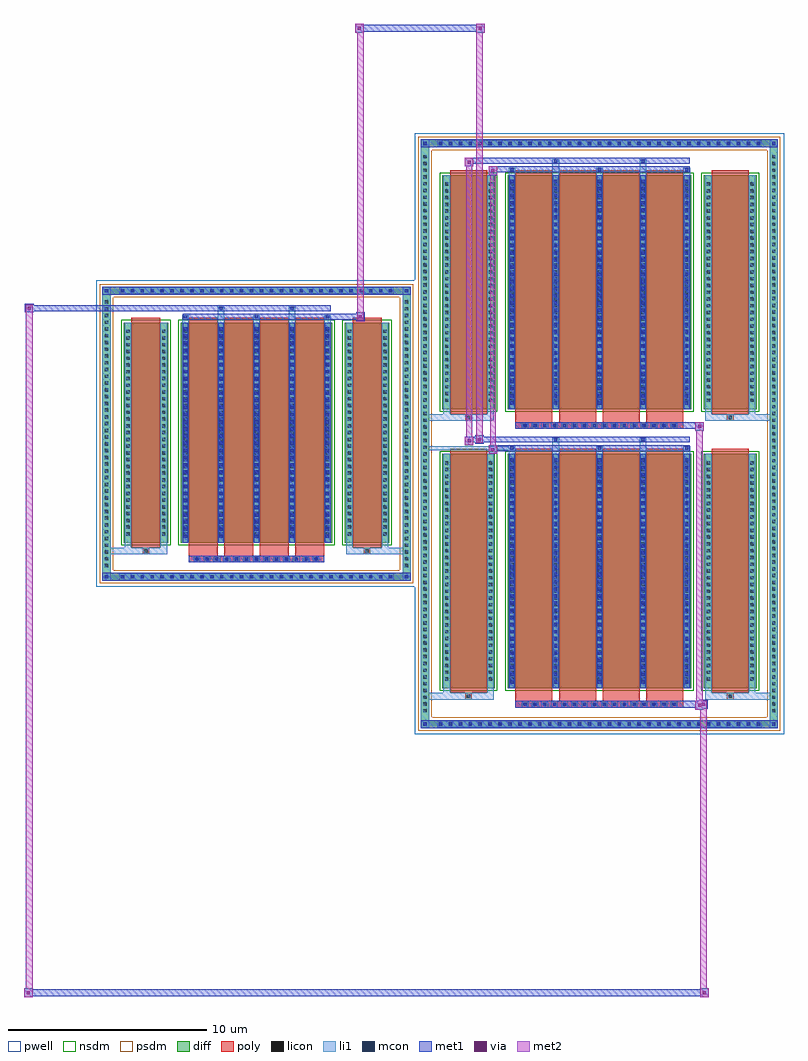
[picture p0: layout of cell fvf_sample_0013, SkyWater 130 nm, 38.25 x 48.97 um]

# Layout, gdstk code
import gdstk
lib = gdstk.Library(unit=1e-6, precision=1e-09)
def R(c, l, rs):  # rectangles x0, y0, x1, y1
    for r in rs: c.add(gdstk.rectangle(r[:2], r[2:], *l))
def A(c, l, x, y, w, h, nx, ny, dx, dy):  # array of equal rectangles
    R(c, l, [(x+i*dx, y+j*dy, x+i*dx+w, y+j*dy+h) for i in range(nx) for j in range(ny)])
def P(c, l, *ps):  # polygons
    for p in ps: c.add(gdstk.Polygon(p, *l))
pwell = (64, 44)
diff = (65, 20)
poly = (66, 20)
licon = (66, 44)
li1 = (67, 20)
mcon = (67, 44)
met1 = (68, 20)
via = (68, 44)
met2 = (69, 20)
nsdm = (93, 44)
psdm = (94, 20)

fvf_sample_0013 = lib.new_cell('fvf_sample_0013')
R(fvf_sample_0013, pwell, [(7.966,-15.128,26.544,15.128), (-8.066,-7.712,8.066,7.712)])
A(fvf_sample_0013, diff, 9.05, -14.818, 0.41, 0.41, 33, 2, 0.5, 29.226)
A(fvf_sample_0013, diff, 8.276, -14.145, 0.41, 0.41, 1, 83, 0, 0.34)
A(fvf_sample_0013, diff, 25.824, -14.145, 0.41, 0.41, 1, 83, 0, 0.34)
A(fvf_sample_0013, diff, -6.955, -7.402, 0.41, 0.41, 28, 2, 0.5, 14.394)
A(fvf_sample_0013, diff, -7.756, -6.835, 0.41, 0.41, 1, 40, 0, 0.34)
A(fvf_sample_0013, diff, 7.346, -6.835, 0.41, 0.41, 1, 40, 0, 0.34)
R(fvf_sample_0013, diff, [(9.05,-14.818,25.46,-14.408), (8.276,-14.145,8.686,14.145), (25.824,-14.145,26.234,14.145), (9.346,-12.797,11.994,-1.015), (12.634,-12.797,21.876,-1.015), (22.516,-12.797,25.164,-1.015), (-6.955,-7.402,6.955,-6.992), (-7.756,-6.835,-7.346,6.835), (7.346,-6.835,7.756,6.835), (-6.685,-5.48,-4.445,5.596), (-3.805,-5.48,3.805,5.596), (4.445,-5.48,6.685,5.596), (9.346,1.231,11.994,13.013), (12.634,1.231,21.876,13.013), (22.516,1.231,25.164,13.013), (-6.955,6.992,6.955,7.402), (9.05,14.408,25.46,14.818)])
P(fvf_sample_0013, diff, [(7.756,7.402),(-7.756,7.402),(-7.756,-6.992),(-7.346,-6.992),(-7.346,6.992),(7.346,6.992),(7.346,-6.992),(-7.346,-6.992),(-7.756,-6.992),(-7.756,-7.402),(7.756,-7.402)],
  [(26.234,14.818),(8.276,14.818),(8.276,-14.408),(8.686,-14.408),(8.686,14.408),(25.824,14.408),(25.824,-14.408),(8.686,-14.408),(8.276,-14.408),(8.276,-14.818),(26.234,-14.818)])
A(fvf_sample_0013, poly, 13.34, -13.778, 0.33, 0.33, 16, 2, 0.5, 14.028)
A(fvf_sample_0013, poly, 13.024, -13.448, 1.868, 0.401, 4, 2, 2.198, 14.028)
A(fvf_sample_0013, poly, 13.024, -13.047, 1.868, 12.282, 4, 2, 2.198, 14.028)
A(fvf_sample_0013, poly, -3.165, -6.462, 0.33, 0.33, 13, 1, 0.5, 0)
A(fvf_sample_0013, poly, -3.415, -6.132, 1.46, 0.402, 4, 1, 1.79, 0)
A(fvf_sample_0013, poly, -3.415, -5.73, 1.46, 11.576, 4, 1, 1.79, 0)
R(fvf_sample_0013, poly, [(13.024,-13.778,21.486,-13.448), (10.505,-13.377,10.835,-13.047), (10.505,-13.377,10.835,-13.047), (23.675,-13.377,24.005,-13.047), (23.675,-13.377,24.005,-13.047), (9.736,-13.047,11.604,-0.765), (22.906,-13.047,24.774,-0.765), (-3.415,-6.462,3.415,-6.132), (-5.73,-6.06,-5.4,-5.73), (-5.73,-6.06,-5.4,-5.73), (5.4,-6.06,5.73,-5.73), (5.4,-6.06,5.73,-5.73), (-6.295,-5.73,-4.835,5.846), (4.835,-5.73,6.295,5.846), (13.024,0.25,21.486,0.58), (10.505,0.651,10.835,0.981), (10.505,0.651,10.835,0.981), (23.675,0.651,24.005,0.981), (23.675,0.651,24.005,0.981), (9.736,0.981,11.604,13.263), (22.906,0.981,24.774,13.263)])
A(fvf_sample_0013, licon, 9.17, -14.698, 0.17, 0.17, 33, 2, 0.5, 29.226)
A(fvf_sample_0013, licon, 8.396, -14.025, 0.17, 0.17, 1, 83, 0, 0.34)
A(fvf_sample_0013, licon, 25.944, -14.025, 0.17, 0.17, 1, 83, 0, 0.34)
A(fvf_sample_0013, licon, 13.42, -13.698, 0.17, 0.17, 16, 2, 0.5, 14.028)
A(fvf_sample_0013, licon, 9.486, -12.431, 0.17, 0.17, 1, 33, 0, 0.34)
A(fvf_sample_0013, licon, 11.684, -12.431, 0.17, 0.17, 1, 33, 0, 0.34)
A(fvf_sample_0013, licon, 12.774, -12.431, 0.17, 0.17, 5, 33, 2.198, 0.34)
A(fvf_sample_0013, licon, 22.656, -12.431, 0.17, 0.17, 1, 33, 0, 0.34)
A(fvf_sample_0013, licon, 24.854, -12.431, 0.17, 0.17, 1, 33, 0, 0.34)
A(fvf_sample_0013, licon, -6.835, -7.282, 0.17, 0.17, 28, 2, 0.5, 14.394)
A(fvf_sample_0013, licon, -7.636, -6.715, 0.17, 0.17, 1, 40, 0, 0.34)
A(fvf_sample_0013, licon, 7.466, -6.715, 0.17, 0.17, 1, 40, 0, 0.34)
A(fvf_sample_0013, licon, -3.085, -6.382, 0.17, 0.17, 13, 1, 0.5, 0)
A(fvf_sample_0013, licon, -6.545, -5.127, 0.17, 0.17, 1, 31, 0, 0.34)
A(fvf_sample_0013, licon, -4.755, -5.127, 0.17, 0.17, 1, 31, 0, 0.34)
A(fvf_sample_0013, licon, -3.665, -5.127, 0.17, 0.17, 5, 31, 1.79, 0.34)
A(fvf_sample_0013, licon, 4.585, -5.127, 0.17, 0.17, 1, 31, 0, 0.34)
A(fvf_sample_0013, licon, 6.375, -5.127, 0.17, 0.17, 1, 31, 0, 0.34)
A(fvf_sample_0013, licon, 9.486, 1.597, 0.17, 0.17, 1, 33, 0, 0.34)
A(fvf_sample_0013, licon, 11.684, 1.597, 0.17, 0.17, 1, 33, 0, 0.34)
A(fvf_sample_0013, licon, 12.774, 1.597, 0.17, 0.17, 5, 33, 2.198, 0.34)
A(fvf_sample_0013, licon, 22.656, 1.597, 0.17, 0.17, 1, 33, 0, 0.34)
A(fvf_sample_0013, licon, 24.854, 1.597, 0.17, 0.17, 1, 33, 0, 0.34)
R(fvf_sample_0013, licon, [(10.585,-13.297,10.755,-13.127), (23.755,-13.297,23.925,-13.127), (-5.65,-5.98,-5.48,-5.81), (5.48,-5.98,5.65,-5.81), (10.585,0.731,10.755,0.901), (23.755,0.731,23.925,0.901)])
A(fvf_sample_0013, li1, 9.09, -14.778, 0.33, 0.33, 33, 2, 0.5, 29.226)
A(fvf_sample_0013, li1, 8.316, -14.105, 0.33, 0.33, 1, 83, 0, 0.34)
A(fvf_sample_0013, li1, 25.864, -14.105, 0.33, 0.33, 1, 83, 0, 0.34)
A(fvf_sample_0013, li1, 13.34, -13.778, 0.33, 0.33, 16, 2, 0.5, 14.028)
A(fvf_sample_0013, li1, 12.694, -12.797, 0.33, 11.782, 5, 2, 2.198, 14.028)
A(fvf_sample_0013, li1, 12.774, -12.571, 0.17, 0.17, 5, 32, 2.198, 0.36)
A(fvf_sample_0013, li1, 12.774, -12.571, 0.17, 11.33, 5, 2, 2.198, 14.028)
A(fvf_sample_0013, li1, 9.406, -12.511, 0.33, 0.33, 1, 33, 0, 0.34)
A(fvf_sample_0013, li1, 11.604, -12.511, 0.33, 0.33, 1, 33, 0, 0.34)
A(fvf_sample_0013, li1, 12.694, -12.511, 0.33, 0.33, 5, 33, 2.198, 0.34)
A(fvf_sample_0013, li1, 22.576, -12.511, 0.33, 0.33, 1, 33, 0, 0.34)
A(fvf_sample_0013, li1, 24.774, -12.511, 0.33, 0.33, 1, 33, 0, 0.34)
A(fvf_sample_0013, li1, -6.915, -7.362, 0.33, 0.33, 28, 2, 0.5, 14.394)
A(fvf_sample_0013, li1, -7.716, -6.795, 0.33, 0.33, 1, 40, 0, 0.34)
A(fvf_sample_0013, li1, 7.386, -6.795, 0.33, 0.33, 1, 40, 0, 0.34)
A(fvf_sample_0013, li1, -3.165, -6.462, 0.33, 0.33, 13, 1, 0.5, 0)
A(fvf_sample_0013, li1, -3.745, -5.48, 0.33, 11.076, 5, 1, 1.79, 0)
A(fvf_sample_0013, li1, -3.665, -5.247, 0.17, 0.17, 5, 30, 1.79, 0.36)
A(fvf_sample_0013, li1, -3.665, -5.247, 0.17, 10.61, 5, 1, 1.79, 0)
A(fvf_sample_0013, li1, -6.625, -5.207, 0.33, 0.33, 1, 31, 0, 0.34)
A(fvf_sample_0013, li1, -4.835, -5.207, 0.33, 0.33, 1, 31, 0, 0.34)
A(fvf_sample_0013, li1, -3.745, -5.207, 0.33, 0.33, 5, 31, 1.79, 0.34)
A(fvf_sample_0013, li1, 4.505, -5.207, 0.33, 0.33, 1, 31, 0, 0.34)
A(fvf_sample_0013, li1, 6.295, -5.207, 0.33, 0.33, 1, 31, 0, 0.34)
A(fvf_sample_0013, li1, 12.694, -1.015, 0.33, 0.375, 3, 2, 4.396, 14.028)
A(fvf_sample_0013, li1, 12.774, -0.81, 0.17, 0.17, 3, 2, 4.396, 14.028)
A(fvf_sample_0013, li1, 12.774, 1.457, 0.17, 0.17, 5, 32, 2.198, 0.36)
A(fvf_sample_0013, li1, 9.406, 1.517, 0.33, 0.33, 1, 33, 0, 0.34)
A(fvf_sample_0013, li1, 11.604, 1.517, 0.33, 0.33, 1, 33, 0, 0.34)
A(fvf_sample_0013, li1, 12.694, 1.517, 0.33, 0.33, 5, 33, 2.198, 0.34)
A(fvf_sample_0013, li1, 22.576, 1.517, 0.33, 0.33, 1, 33, 0, 0.34)
A(fvf_sample_0013, li1, 24.774, 1.517, 0.33, 0.33, 1, 33, 0, 0.34)
A(fvf_sample_0013, li1, -3.745, 5.596, 0.33, 0.375, 3, 1, 3.58, 0)
A(fvf_sample_0013, li1, -3.665, 5.801, 0.17, 0.17, 3, 1, 3.58, 0)
R(fvf_sample_0013, li1, [(8.276,-14.818,8.686,-14.408), (25.824,-14.818,26.234,-14.408), (9.09,-14.778,25.42,-14.448), (8.396,-14.698,8.566,-14.528), (8.396,-14.698,8.566,-14.528), (25.944,-14.698,26.114,-14.528), (25.944,-14.698,26.114,-14.528), (8.276,-14.408,8.686,14.408), (25.824,-14.408,26.234,14.408), (8.276,-13.377,10.505,-13.047), (9.406,-13.377,9.736,-12.797), (9.406,-13.377,10.505,-13.047), (10.505,-13.377,10.835,-13.047), (10.835,-13.377,11.934,-13.047), (11.604,-13.377,11.934,-12.797), (22.576,-13.377,22.906,-12.797), (22.576,-13.377,23.675,-13.047), (23.675,-13.377,24.005,-13.047), (23.675,-13.377,26.234,-13.047), (24.005,-13.377,25.104,-13.047), (24.774,-13.377,25.104,-12.797), (9.406,-12.797,9.736,-1.015), (11.604,-12.797,11.934,-1.015), (22.576,-12.797,22.906,-1.015), (24.774,-12.797,25.104,-1.015), (-7.756,-7.402,-7.346,-6.992), (7.346,-7.402,7.756,-6.992), (-6.915,-7.362,6.915,-7.032), (-7.636,-7.282,-7.466,-7.112), (-7.636,-7.282,-7.466,-7.112), (7.466,-7.282,7.636,-7.112), (7.466,-7.282,7.636,-7.112), (-7.756,-6.992,-7.346,6.992), (7.346,-6.992,7.756,6.992), (-7.756,-6.06,-5.73,-5.73), (-6.625,-6.06,-5.73,-5.73), (-6.625,-6.06,-6.295,-5.48), (-5.73,-6.06,-5.4,-5.73), (-5.4,-6.06,-4.505,-5.73), (-4.835,-6.06,-4.505,-5.48), (4.505,-6.06,5.4,-5.73), (4.505,-6.06,4.835,-5.48), (5.4,-6.06,5.73,-5.73), (5.4,-6.06,7.756,-5.73), (5.73,-6.06,6.625,-5.73), (6.295,-6.06,6.625,-5.48), (-6.625,-5.48,-6.295,5.596), (-4.835,-5.48,-4.505,5.596), (4.505,-5.48,4.835,5.596), (6.295,-5.48,6.625,5.596), (14.892,-1.015,15.222,-0.21), (19.288,-1.015,19.618,-0.21), (12.714,-0.87,13.004,-0.58), (8.276,-0.825,12.714,-0.625), (12.774,-0.81,12.944,-0.64), (14.972,-0.38,15.142,-0.21), (19.368,-0.38,19.538,-0.21), (8.276,0.651,10.505,0.981), (9.406,0.651,9.736,1.231), (9.406,0.651,10.505,0.981), (10.505,0.651,10.835,0.981), (10.835,0.651,11.934,0.981), (11.604,0.651,11.934,1.231), (22.576,0.651,22.906,1.231), (22.576,0.651,23.675,0.981), (23.675,0.651,24.005,0.981), (23.675,0.651,26.234,0.981), (24.005,0.651,25.104,0.981), (24.774,0.651,25.104,1.231), (9.406,1.231,9.736,13.013), (11.604,1.231,11.934,13.013), (22.576,1.231,22.906,13.013), (24.774,1.231,25.104,13.013), (-1.955,5.596,-1.625,6.401), (1.625,5.596,1.955,6.401), (-1.875,6.231,-1.705,6.401), (1.705,6.231,1.875,6.401), (-7.756,6.992,-7.346,7.402), (7.346,6.992,7.756,7.402), (-6.915,7.032,6.915,7.362), (-7.636,7.112,-7.466,7.282), (-7.636,7.112,-7.466,7.282), (7.466,7.112,7.636,7.282), (7.466,7.112,7.636,7.282), (14.892,13.013,15.222,13.818), (19.288,13.013,19.618,13.818), (14.972,13.648,15.142,13.818), (19.368,13.648,19.538,13.818), (8.276,14.408,8.686,14.818), (25.824,14.408,26.234,14.818), (9.09,14.448,25.42,14.778), (8.396,14.528,8.566,14.698), (8.396,14.528,8.566,14.698), (25.944,14.528,26.114,14.698), (25.944,14.528,26.114,14.698)])
A(fvf_sample_0013, mcon, 9.17, -14.698, 0.17, 0.17, 33, 2, 0.5, 29.226)
A(fvf_sample_0013, mcon, 13.42, -13.698, 0.17, 0.17, 16, 2, 0.5, 14.028)
A(fvf_sample_0013, mcon, 12.774, -12.571, 0.17, 0.17, 5, 32, 2.198, 0.36)
A(fvf_sample_0013, mcon, -6.835, -7.282, 0.17, 0.17, 28, 2, 0.5, 14.394)
A(fvf_sample_0013, mcon, -3.085, -6.382, 0.17, 0.17, 13, 1, 0.5, 0)
A(fvf_sample_0013, mcon, -3.665, -5.247, 0.17, 0.17, 5, 30, 1.79, 0.36)
A(fvf_sample_0013, mcon, 12.774, -0.81, 0.17, 0.17, 3, 2, 4.396, 14.028)
A(fvf_sample_0013, mcon, 12.774, 1.457, 0.17, 0.17, 5, 32, 2.198, 0.36)
A(fvf_sample_0013, mcon, -3.665, 5.801, 0.17, 0.17, 3, 1, 3.58, 0)
R(fvf_sample_0013, mcon, [(8.396,-14.698,8.566,-14.528), (25.944,-14.698,26.114,-14.528), (-7.636,-7.282,-7.466,-7.112), (7.466,-7.282,7.636,-7.112), (12.774,-0.81,12.944,-0.64), (14.972,-0.38,15.142,-0.21), (19.368,-0.38,19.538,-0.21), (-1.875,6.231,-1.705,6.401), (1.705,6.231,1.875,6.401), (-7.636,7.112,-7.466,7.282), (7.466,7.112,7.636,7.282), (14.972,13.648,15.142,13.818), (19.368,13.648,19.538,13.818), (8.396,14.528,8.566,14.698), (25.944,14.528,26.114,14.698)])
A(fvf_sample_0013, met1, 9.11, -14.758, 0.29, 0.29, 33, 2, 0.5, 29.226)
A(fvf_sample_0013, met1, 13.36, -13.758, 0.29, 0.29, 16, 2, 0.5, 14.028)
A(fvf_sample_0013, met1, 12.714, -12.797, 0.29, 11.782, 5, 2, 2.198, 14.028)
A(fvf_sample_0013, met1, 12.714, -12.631, 0.29, 0.29, 5, 32, 2.198, 0.36)
A(fvf_sample_0013, met1, -6.895, -7.342, 0.29, 0.29, 28, 2, 0.5, 14.394)
A(fvf_sample_0013, met1, -3.145, -6.442, 0.29, 0.29, 13, 1, 0.5, 0)
A(fvf_sample_0013, met1, -3.725, -5.48, 0.29, 11.076, 5, 1, 1.79, 0)
A(fvf_sample_0013, met1, -3.725, -5.307, 0.29, 0.29, 5, 30, 1.79, 0.36)
A(fvf_sample_0013, met1, 12.714, -0.87, 0.29, 0.29, 3, 2, 4.396, 14.028)
A(fvf_sample_0013, met1, 12.714, 1.397, 0.29, 0.29, 5, 32, 2.198, 0.36)
A(fvf_sample_0013, met1, -3.725, 5.741, 0.29, 0.29, 3, 1, 3.58, 0)
R(fvf_sample_0013, met1, [(-11.702,-28.346,-11.272,-27.916), (22.321,-28.346,22.751,-27.916), (-11.702,-28.296,22.751,-27.966), (-11.702,-27.966,-11.272,-27.916), (22.321,-27.966,22.751,-27.916), (8.276,-14.818,8.686,-14.408), (8.276,-14.818,8.686,-14.408), (8.686,-14.818,25.824,-14.408), (25.824,-14.818,26.234,-14.408), (25.824,-14.818,26.234,-14.408), (8.336,-14.758,8.626,-14.468), (25.884,-14.758,26.174,-14.468), (22.086,-13.878,22.516,-13.448), (22.271,-13.828,22.701,-13.398), (13.024,-13.778,21.486,-13.448), (21.486,-13.778,22.271,-13.448), (21.486,-13.778,22.516,-13.448), (-7.756,-7.402,-7.346,-6.992), (-7.756,-7.402,-7.346,-6.992), (-7.346,-7.402,7.346,-6.992), (7.346,-7.402,7.756,-6.992), (7.346,-7.402,7.756,-6.992), (-7.696,-7.342,-7.406,-7.052), (7.406,-7.342,7.696,-7.052), (-3.415,-6.462,3.415,-6.132), (11.684,-1.01,12.114,-0.58), (11.684,-0.87,12.714,-0.58), (12.714,-0.87,13.004,-0.58), (12.714,-0.87,21.796,-0.58), (10.484,-0.58,10.914,-0.15), (10.999,-0.51,11.429,-0.08), (10.484,-0.44,12.714,-0.15), (11.429,-0.44,12.714,-0.15), (12.714,-0.44,21.796,-0.15), (14.912,-0.44,15.202,-0.15), (19.308,-0.44,19.598,-0.15), (22.086,0.15,22.516,0.58), (13.024,0.25,21.486,0.58), (21.486,0.25,22.516,0.58), (5.01,5.671,5.44,6.101), (-3.725,5.741,3.725,6.031), (3.725,5.741,5.01,6.031), (-11.652,6.101,-11.222,6.531), (-11.222,6.171,-3.725,6.461), (-3.725,6.171,3.725,6.461), (-1.935,6.171,-1.645,6.461), (1.645,6.171,1.935,6.461), (-7.756,6.992,-7.346,7.402), (-7.756,6.992,-7.346,7.402), (-7.346,6.992,7.346,7.402), (7.346,6.992,7.756,7.402), (7.346,6.992,7.756,7.402), (-7.696,7.052,-7.406,7.342), (7.406,7.052,7.696,7.342), (11.684,13.018,12.114,13.448), (11.684,13.158,12.714,13.448), (12.714,13.158,21.796,13.448), (10.484,13.448,10.914,13.878), (10.484,13.588,12.714,13.878), (12.714,13.588,21.796,13.878), (14.912,13.588,15.202,13.878), (19.308,13.588,19.598,13.878), (8.276,14.408,8.686,14.818), (8.276,14.408,8.686,14.818), (8.686,14.408,25.824,14.818), (25.824,14.408,26.234,14.818), (25.824,14.408,26.234,14.818), (8.336,14.468,8.626,14.758), (25.884,14.468,26.174,14.758), (4.96,20.189,5.39,20.619), (11.049,20.189,11.479,20.619), (4.96,20.239,11.479,20.569), (4.96,20.569,5.39,20.619), (11.049,20.569,11.479,20.619)])
R(fvf_sample_0013, via, [(-11.562,-28.206,-11.412,-28.056), (22.461,-28.206,22.611,-28.056), (22.226,-13.738,22.376,-13.588), (22.411,-13.688,22.561,-13.538), (11.824,-0.87,11.974,-0.72), (10.624,-0.44,10.774,-0.29), (11.139,-0.37,11.289,-0.22), (22.226,0.29,22.376,0.44), (5.15,5.811,5.3,5.961), (-11.512,6.241,-11.362,6.391), (11.824,13.158,11.974,13.308), (10.624,13.588,10.774,13.738), (5.1,20.329,5.25,20.479), (11.189,20.329,11.339,20.479)])
R(fvf_sample_0013, met2, [(-11.702,-28.346,-11.272,-27.916), (-11.602,-28.346,-11.272,6.151), (22.321,-28.346,22.751,-27.916), (22.321,-28.346,22.651,-13.778), (-11.652,-28.296,-11.322,-27.966), (22.371,-28.296,22.701,-27.966), (22.086,-13.878,22.516,-13.448), (22.136,-13.878,22.466,0.58), (22.466,-13.878,22.516,-13.448), (22.136,-13.828,22.466,-13.498), (22.321,-13.778,22.651,-13.448), (11.684,-1.01,12.114,-0.58), (11.754,-1.01,12.044,13.448), (12.044,-1.01,12.114,-0.58), (11.734,-0.96,12.064,-0.63), (10.484,-0.58,10.914,-0.15), (10.554,-0.58,10.844,13.878), (10.844,-0.58,10.914,-0.15), (10.534,-0.53,10.864,-0.2), (11.049,-0.46,11.379,-0.13), (11.049,-0.13,11.379,20.619), (22.086,0.15,22.516,0.58), (22.466,0.15,22.516,0.58), (22.136,0.2,22.466,0.53), (5.06,5.721,5.39,6.051), (5.06,6.051,5.39,20.619), (-11.602,6.151,-11.272,6.481), (11.684,13.018,12.114,13.448), (12.044,13.018,12.114,13.448), (11.734,13.068,12.064,13.398), (10.484,13.448,10.914,13.878), (10.844,13.448,10.914,13.878), (10.534,13.498,10.864,13.828), (4.96,20.189,5.39,20.619), (11.049,20.189,11.479,20.619), (5.01,20.239,5.34,20.569), (11.099,20.239,11.429,20.569)])
R(fvf_sample_0013, nsdm, [(9.216,-12.927,12.124,-0.885), (12.504,-12.927,22.006,-0.885), (22.386,-12.927,25.294,-0.885), (-6.815,-5.61,-4.315,5.726), (-3.935,-5.61,3.935,5.726), (4.315,-5.61,6.815,5.726), (9.216,1.101,12.124,13.143), (12.504,1.101,22.006,13.143), (22.386,1.101,25.294,13.143)])
P(fvf_sample_0013, psdm, [(7.886,7.532),(-7.886,7.532),(-7.886,-6.862),(-7.216,-6.862),(-7.216,6.862),(7.216,6.862),(7.216,-6.862),(-7.216,-6.862),(-7.886,-6.862),(-7.886,-7.532),(7.886,-7.532)],
  [(26.364,14.948),(8.146,14.948),(8.146,-14.278),(8.816,-14.278),(8.816,14.278),(25.694,14.278),(25.694,-14.278),(8.816,-14.278),(8.146,-14.278),(8.146,-14.948),(26.364,-14.948)])

lib.write_gds('fvf_sample_0013.gds')
